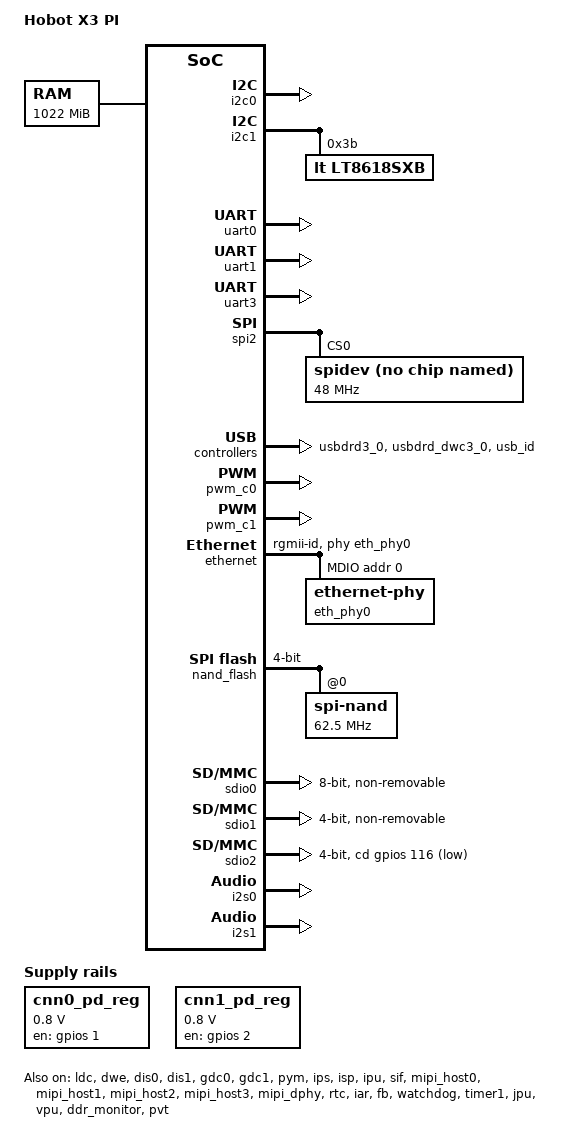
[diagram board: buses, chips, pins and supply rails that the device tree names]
/*
 * dtsi file for Hobot X3 PI
 *
 * (C) Copyright 2018, Horizon, Inc.
 *
 *
 * This program is free software; you can redistribute it and/or
 * modify it under the terms of the GNU General Public License as
 * published by the Free Software Foundation; either version 2 of
 * the License, or (at your option) any later version.
 */

/dts-v1/;
#include "hobot-xj3.dtsi"
#include "hobot-pinctrl-xj3.dtsi"
#include "hobot-clk-xj3.dtsi"
#include <dt-bindings/gpio/gpio.h>
#include <dt-bindings/phy/phy.h>

/ {
	model = "Hobot X3 PI";

	aliases {
		serial0 = &uart0;
		serial1 = &uart1;
		serial2 = &uart2;
		serial3 = &uart3;
		i2c0	= &i2c0;
		i2c1	= &i2c1;
		i2c2	= &i2c2;
		i2c3	= &i2c3;
		i2c4	= &i2c4;
		i2c5	= &i2c5;
		i2s0	= &i2s0;
		i2s1	= &i2s1;
		spi0	= &spi0;
		spi1	= &spi1;
		spi2	= &spi2;
		usbdrd3_0 = &usbdrd3_0;
		usbdrd_dwc3_0 = &usbdrd_dwc3_0;
		bifspi	= &bifspi;
		bifsd   = &bifsd;
		mmc1	= &sdio0;
		mmc2	= &sdio1;
		mmc3	= &sdio2;
		dma	= &dma;
		dmatest = &dmatest;
		mipihost0 = &mipi_host0;
		mipihost1 = &mipi_host1;
		mipihost2 = &mipi_host2;
		mipihost3 = &mipi_host3;
		mipidev0 = &mipi_dev0;

		pym	= &pym;
		dwe	= &dwe;
		ldc	= &ldc;
		dis0	= &dis0;
		dis1	= &dis1;
		gdc0	= &gdc0;
		gdc1	= &gdc1;
		isp	= &isp;
		ipu	= &ipu;
		sif	= &sif;

		sndcard0 = &snd0;
		sndcard1 = &snd1;
		sndcard2 = &snd2;
		sndcard4 = &snd4;
		idma0 = &i2sidma0;
		idma1 = &i2sidma1;

		codec0 = &codec0;

		socinfo = &socinfo;

		gpios = &gpios;
		usb_id = &usb_id;
		extcon_vbus = &extcon_vbus;

		pwm_c0 = &pwm_c0;
		pwm_c1 = &pwm_c1;

		power = &power;
	};

	chosen {
		bootargs = "earlycon loglevel=8 kgdboc=ttyS0 video=hobot:x3sdb-hdmi ";
		stdout-path = "serial0";
	};

	memory@0 {
		device_type = "memory";
		reg = <0x0 0x200000 0x0 0x3FE00000>;
	};

	reserved-memory {
		#address-cells = <2>;
		#size-cells = <2>;
		ranges;

		/*Reserved 256K memory pstore */
		ramoops@0x3FC0000 {
			compatible = "ramoops";
			reg = <0x0 0x3FC0000 0x0 0x40000>;
			console-size = <0x8000>;
			pmsg-size = <0x8000>;
			ftrace-size = <0x8000>;
			record-size = <0x4000>;
		};

		/* Reserved 672MB memory for ion cma */
		ion_cma {
			compatible = "shared-dma-pool";
			alloc-ranges = <0x0 0x4000000 0x0 0x2A000000>;
			alignment = <0x0 0x100000>;
			size = <0x0 0x2A000000>;
			reusable;
		};

		/* 32M */
/*
		ion_reserved: ion_reserved@0x2E000000 {
			compatible = "ion-pool";
			reg = <0x0 0x2E000000 0x0 0x2000000>;
		};
*/
		/*Reserved 1M memory for CR5*/
		image_r5_mem: image_r5_mem {
                        reg = <0x0 0x80000000 0x0 0x10000>;
                        no-map;
                };

                msg_r5_mem: msg_r5_mem {
                        reg = <0x0 0x8000f000 0x0 0x1000>;
                        no-map;
                };

		rpmsg_r5_code: rpmsg_r5_code {
                        reg = <0x0 0x3E00000 0x0 0xFF000>;
                        no-map;
                };

                rpmsg_r5_vring: rpmsg_r5_vring {
                        reg = <0x0 0x3EFF000 0x0 0x1000>;
                        no-map;
                };
	};

	cnn0_pd_reg: cnn0_pd_reg@2 {
		status = "okay";
		compatible = "regulator-gpio";
		regulator-name = "VCC_CNN0";
		regulator-min-microvolt = <800000>;
		regulator-max-microvolt = <800000>;
		enable-gpio = <&gpios 1 0>;
		states = <800000 0>;
		startup-delay-us = <3000>;
		regulator-boot-on;
		enable-active-high;
	};

	cnn1_pd_reg: cnn1_pd_reg@3 {
		status = "okay";
		compatible = "regulator-gpio";
		regulator-name = "VCC_CNN1";
		regulator-min-microvolt = <800000>;
		regulator-max-microvolt = <800000>;
		enable-gpio = <&gpios 2 0>;
		states = <800000 0>;
		startup-delay-us = <3000>;
		regulator-boot-on;
		enable-active-high;
	};
};

&power {
    vdd_core_on_cnt = <0xffff>;
    sysctrl_rst_dis_cnt = <0xffff>;
    sysctrl_pre_clkon_cnt = <0xffff>;
    sysctrl_pre_clkoff_cnt = <0xffff>;
};

&socinfo {
	board_name = "X3PI";
	board_id = "00000000";
	origin_board_id = "00000000";
	ddr_vender = "Samsung";
	ddr_type = "LPDDR4";
	ddr_freq = "3200";
	ddr_size = "2GB";
	som_name = "X3PI";
	base_board_name = "X3PI";
	boot_mode = "0";
	socuid = "00000000000000000000000000000000";
};

&pinctrl {
	btout_func: btout_func {
		pinctrl-single,pins = <
			0x138   (MUX_F0 | DRIVE1_33MA | SCHMITT2_ENA | PULL2_DOWN) /*BT1120_OUT_CLK*/
			0x13c   (MUX_F0 | DRIVE1_12MA | SCHMITT2_DIS | PULL2_DOWN) /*BT1120_OUT_DAT0*/
			0x140   (MUX_F0 | DRIVE1_12MA | SCHMITT2_DIS | PULL2_DOWN)
			0x144   (MUX_F0 | DRIVE1_12MA | SCHMITT2_DIS | PULL2_DOWN)
			0x148   (MUX_F0 | DRIVE1_12MA | SCHMITT2_DIS | PULL2_DOWN)
			0x14c   (MUX_F0 | DRIVE1_12MA | SCHMITT2_DIS | PULL2_DOWN)
			0x150   (MUX_F0 | DRIVE1_12MA | SCHMITT2_DIS | PULL2_DOWN)
			0x154   (MUX_F0 | DRIVE1_12MA | SCHMITT2_DIS | PULL2_DOWN)
			0x158   (MUX_F0 | DRIVE1_12MA | SCHMITT2_DIS | PULL2_DOWN) /*BT1120_OUT_DAT7*/
			0x15c   (MUX_F0 | DRIVE1_12MA | SCHMITT2_DIS | PULL2_DOWN) /*BT1120_OUT_DAT8*/
			0x160   (MUX_F0 | DRIVE1_12MA | SCHMITT2_DIS | PULL2_DOWN)
			0x164   (MUX_F0 | DRIVE1_12MA | SCHMITT2_DIS | PULL2_DOWN)
			0x168   (MUX_F0 | DRIVE1_12MA | SCHMITT2_DIS | PULL2_DOWN)
			0x16c   (MUX_F0 | DRIVE1_12MA | SCHMITT2_DIS | PULL2_DOWN)
			0x170   (MUX_F0 | DRIVE1_12MA | SCHMITT2_DIS | PULL2_DOWN)
			0x174   (MUX_F0 | DRIVE1_12MA | SCHMITT2_DIS | PULL2_DOWN)
			0x178   (MUX_F0 | DRIVE1_12MA | SCHMITT2_DIS | PULL2_DOWN) /*BT1120_OUT_DAT15*/
		>;
	};
};

&i2c0 {
	status = "okay";
	#address-cells = <1>;
	#size-cells = <0>;
};

&i2c1 {
	status = "okay";
	#address-cells = <1>;
	#size-cells = <0>;

	lt8618sxb@0x3b {
		compatible = "lt,lt8618sxb";
		reg = <0x3b>;
		rst_pin = <117>; // shared reset with TP!
	};
};

&uart0 {
	status = "okay";
};

&uart1 {
	status = "okay"; /* 4 wire uart for bt */
	pinctrl-0 = <&uart1_func_rtscts>; /* <&uart1_func>;  uart 1 connect to bt with rtscts*/
};

&uart3 {
	status = "okay";
};

&spi2 {
	status = "okay";
	pinctrl-names = "default";
	spidev@0x00 {
		compatible = "rohm,dh2228fv";
		spi-max-frequency = <48000000>;
		reg = <0>;
	};
};

&usbdrd3_0 {
	status = "okay";
};

&usbdrd_dwc3_0 {
	status = "okay";
};

&usb_id {
	status = "okay";

	/* vbus-gpio = <>; */
	id-gpio = <&gpios 65 GPIO_ACTIVE_HIGH>;
	host-rst-gpio = <&gpios 23 GPIO_ACTIVE_LOW>;
	host-exrst-gpio = <&gpios 38 GPIO_ACTIVE_LOW>;
};

&extcon_vbus {
	status = "disabled";

	pinctrl-names = "default";
	pinctrl-0 = <&vbus_detect_function>;

	gpio-mode = <0x1>;	/* 1: poll mode, 2: interrupt mode */
	vbus-gpio = <&gpios 22 GPIO_ACTIVE_HIGH>;
};

&gpios {
	status = "okay";
};

&pinctrl {
	status = "okay";
};

&ldc {
	status = "okay";
};

&dwe {
	status = "okay";
};

&dis0 {
	status = "okay";
};

&dis1 {
	status = "okay";
};

/* when gdc0 added, boot stucked one time */
&gdc0 {
	status = "okay";
};

&gdc1 {
	status = "okay";
};

&pym {
	status = "okay";
};

&ips {
	status = "okay";
};

&isp {
	status = "okay";
};

&ipu {
	status = "okay";
};

&sif {
	status = "okay";
};

&mipi_host0 {
	status = "okay";
};

&mipi_host1 {
	status = "okay";
};

&mipi_host2 {
	status = "okay";
};

&mipi_host3 {
	status = "okay";
};

&mipi_dphy {
	status = "okay";
};

&dma {
	status = "okay";
};

&rtc {
	status = "okay";
};

&pwm_c0 {
	status = "okay";
	pinctrl-0 = <&pwm0_func>;
	pinctrl-1 = <>;
	pinctrl-2 = <>;
};

&pwm_c1 {
	status = "okay";
	pinctrl-0 = <>;
	pinctrl-1 = <&pwm4_func>;
	pinctrl-2 = <>;
};

&ethernet {
	status = "okay";

	/* pinctrl-names = "default";
	pinctrl-0 = <&eth_func>; */

	/* local-mac-address = [ 00 11 22 33 44 55 ]; */
	phy-mode = "rgmii-id";

	phy-handle = <&eth_phy0>;
	mdio {
		#address-cells = <0x1>;
		#size-cells = <0x0>;
		/* use GPIO 1.8 as RESET PIN for phy */
		reset-gpios = <&gpios 20 GPIO_ACTIVE_LOW>;
		/* reset pin must assert at least 10ms for RTL8211F */
		reset-delay-us = <20000>;
		/* regs of RTL8211F cannot be accessed until at least 72ms after the reset */
		reset_extra_us = <100000>;

		eth_phy0: ethernet-phy@0 {
			reg = <0x0>;
			max-speed = <1000>;
		};
	};
};

&iar {
	status = "okay";
	pinctrl-names = "bt_func", "rgb_func", "rgb_gpio_func", "bt1120_voltage_func";
	pinctrl-3 = <&bt1120_3_3v_func>;
	disp_panel_reset_pin = <117>;
	timing_1920x1080 = <148500000 160 120 24 48 4 5>;
	timing_720x1280_touch = <64000000 40 40 10 11 16 3>;
	startup-img = <1>;
	pwm = <1 1000 200>;
	default-display-type = <1>;//hdmi
};

&fb {
	status = "okay";
	offset-rgba = <16 8 0 24>;
};

&nand_flash {
	status = "okay";
	#address-cells = <1>;
	#size-cells = <0>;
	spi-mode = <0>;		/* CPOL/CPHA mode */
	bus-width = <4>;
	device-name = "hr_nand";

	spi-nand@0 {
		compatible = "spi-nand";
		#address-cells = <1>;
		#size-cells = <1>;
		reg = <0x0>;
		spi-max-frequency = <62500000>; /* For FPGA max clk is 20Mhz */
	};
};

&sdio0 {
	status = "okay";
	bus-width = <8>;
	cap-mmc-highspeed;
	mmc-hs200-1_8v;
	non-removable;
	disable-wp;
	pinctrl-names = "";
	pinctrl-0 = <>;
};

&sdio1 {
	status = "okay";
	bus-width = <4>;
	no-mmc;
	no-sd;
	cap-sdio-irq;
        cap-sd-highspeed;
	broken-cd;
	disable-wp;
        powerup-gpio =  <&gpios 16 GPIO_ACTIVE_HIGH>;
	max-frequency = <50000000>;
	mmc-fixed-voltage = <1800>;
	non-removable;
	pinctrl-names = "default","voltage_1_8v";
	pinctrl-0 = <&sdio1_func>;
	pinctrl-1 = <&sd1_1_8v_func>;
};

&sdio2 {
	status = "okay";
	bus-width = <4>;
	no-mmc;
	cap-sd-highspeed;
	sd-uhs-sdr12;
	sd-uhs-sdr25;
	sd-uhs-sdr50;
	sd-uhs-sdr104;
	uhs-180v-gpio = <24>; /* BIFSD_DATA2 */
	uhs-180v-logic = <1>;
	cd-gpios = <&gpios 116 GPIO_ACTIVE_LOW>;  /* BIFSD_DATA4 */
	/* broken-cd; */
	disable-wp;
	pinctrl-names = "default","voltage_1_8v","voltage_3_3v";
	pinctrl-0 = <&sdio2_func>;
	pinctrl-1 = <&sd2_1_8v_func>;
	pinctrl-2 = <&sd2_3_3v_func>;
};

&watchdog {
	status = "okay";
};

&timer1 {
	status = "okay";
};

&i2s0 {
        status = "okay";
        #sound-dai-cells = <0>;
        clocks = <&i2s0_mclk>, <&i2s0_bclk>;
        clock-names = "i2s-mclk", "i2s-bclk";
	ms = <1>;
        bclk_set = <1536000>; //duplex
};

&i2s1 {
        status = "okay";
        #sound-dai-cells = <0>;
        clocks = <&i2s1_mclk>, <&i2s1_bclk>;
        clock-names = "i2s-mclk", "i2s-bclk";
        bclk_set = <1536000>;
};

&i2sidma0 {
        status = "okay";
};

&i2sidma1 {
        status = "okay";
};

&jpu {
	status = "okay";
};

&vpu {
	status = "okay";
};

&ddr_monitor {
	status = "okay";
};

&power {
	status = "okay";
};

&pvt {
	status = "okay";
};

&soc_thermal {
	status = "okay";

	trips {
		threshold: trip-point@0 {
			temperature = <80000>;
			hysteresis = <0>;
			type = "passive";
	        };
		target: trip-point@1 {
			temperature = <95000>;
			hysteresis = <0>;
			type = "passive";
		};
		soc_crit: soc-crit {
			temperature = <105000>;
			hysteresis = <0>; /* millicelsius */
			type = "critical";
		};
	};
};

&cnn0 {
	cnn-supply = <&cnn0_pd_reg>;
	governor = "userspace";
	max_freq = /bits/ 64 <1000000000>;
};

&cnn1 {
	cnn-supply = <&cnn1_pd_reg>;
	governor = "userspace";
	max_freq = /bits/ 64 <1000000000>;
};

